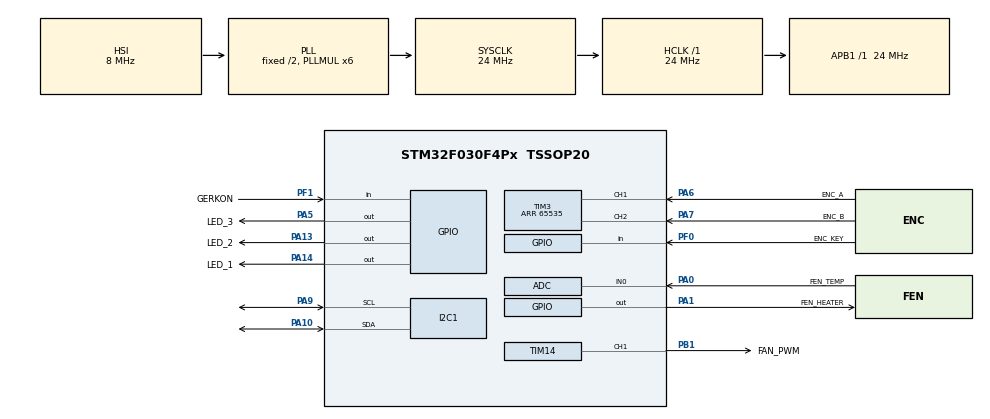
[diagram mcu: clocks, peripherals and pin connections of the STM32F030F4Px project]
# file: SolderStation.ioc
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ADC.ClockPrescaler=ADC_CLOCK_SYNC_PCLK_DIV4
ADC.ContinuousConvMode=ENABLE
ADC.DMAContinuousRequests=DISABLE
ADC.DataAlign=ADC_DATAALIGN_RIGHT
ADC.DiscontinuousConvMode=DISABLE
ADC.EOCSelection=ADC_EOC_SINGLE_CONV
ADC.EnableAnalogWatchDog=false
ADC.ExternalTrigConv=ADC_SOFTWARE_START
ADC.ExternalTrigConvEdge=ADC_EXTERNALTRIGCONVEDGE_NONE
ADC.LowPowerAutoPowerOff=DISABLE
ADC.LowPowerAutoWait=DISABLE
ADC.Overrun=ADC_OVR_DATA_PRESERVED
ADC.Resolution=ADC_RESOLUTION_12B
ADC.SamplingTime=ADC_SAMPLETIME_239CYCLES_5
ADC.ScanConvMode=ADC_SCAN_DIRECTION_FORWARD
Mcu.Family=STM32F0
Mcu.Name=STM32F030F4Px
Mcu.Package=TSSOP20
NVIC.ADC1_IRQn=true\:0\:0\:false\:false\:true
NVIC.TIM3_IRQn=true\:0\:0\:false\:false\:true
PA0.GPIO_Label=FEN_TEMP
PA0.Mode=IN0
PA0.Signal=ADC_IN0
PA1.GPIO_Label=FEN_HEATER
PA1.GPIO_PuPd=GPIO_NOPULL
PA1.Signal=GPIO_Output
PA10.Mode=I2C
PA10.Signal=I2C1_SDA
PA13.GPIO_Label=LED_2
PA13.GPIO_ModeDefaultOutputPP=GPIO_MODE_OUTPUT_PP
PA13.GPIO_PuPd=GPIO_PULLUP
PA13.PinState=GPIO_PIN_SET
PA13.Signal=GPIO_Output
PA14.GPIO_Label=LED_1
PA14.GPIO_ModeDefaultOutputPP=GPIO_MODE_OUTPUT_PP
PA14.GPIO_PuPd=GPIO_PULLUP
PA14.PinState=GPIO_PIN_SET
PA14.Signal=GPIO_Output
PA5.GPIO_Label=LED_3
PA5.GPIO_ModeDefaultOutputPP=GPIO_MODE_OUTPUT_PP
PA5.GPIO_PuPd=GPIO_PULLUP
PA5.PinState=GPIO_PIN_SET
PA5.Signal=GPIO_Output
PA6.GPIO_Label=ENC_A
PA6.GPIO_PuPd=GPIO_PULLUP
PA6.Signal=S_TIM3_CH1
PA7.GPIO_Label=ENC_B
PA7.GPIO_PuPd=GPIO_PULLUP
PA7.Signal=S_TIM3_CH2
PA9.Mode=I2C
PA9.Signal=I2C1_SCL
PB1.GPIO_Label=FAN_PWM
PB1.GPIO_PuPd=GPIO_PULLDOWN
PB1.Signal=S_TIM14_CH1
PF0-OSC_IN.GPIO_Label=ENC_KEY
PF0-OSC_IN.GPIO_PuPd=GPIO_PULLUP
PF0-OSC_IN.Signal=GPIO_Input
PF1-OSC_OUT.GPIO_Label=GERKON
PF1-OSC_OUT.GPIO_PuPd=GPIO_PULLUP
PF1-OSC_OUT.Signal=GPIO_Input
ProjectManager.HeapSize=0x200
ProjectManager.StackSize=0x400
ProjectManager.TargetToolchain=MDK-ARM V5
RCC.AHBFreq_Value=24000000
RCC.APB1Freq_Value=24000000
RCC.APB1TimFreq_Value=24000000
RCC.HCLKFreq_Value=24000000
RCC.PLLMUL=RCC_PLL_MUL6
RCC.SYSCLKFreq_VALUE=24000000
RCC.SYSCLKSource=RCC_SYSCLKSOURCE_PLLCLK
RCC.VDD_VALUE=3.3
SH.S_TIM14_CH1.0=TIM14_CH1,PWM Generation1 CH1
SH.S_TIM3_CH1.0=TIM3_CH1,Encoder_Interface
SH.S_TIM3_CH2.0=TIM3_CH2,Encoder_Interface
TIM3.ClockDivision=TIM_CLOCKDIVISION_DIV2
TIM3.EncoderMode=TIM_ENCODERMODE_TI12
TIM3.IC1Filter=5
TIM3.IC1Prescaler=TIM_ICPSC_DIV1
TIM3.IC2Filter=5
TIM3.IC2Prescaler=TIM_ICPSC_DIV1
TIM3.Period=65535
VP_TIM14_VS_ClockSourceINT.Mode=Enable_Timer
board=SolderStation

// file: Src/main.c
/**
  ******************************************************************************
  * File Name          : main.c
  * Description        : Main program body
  ******************************************************************************
  *
  * COPYRIGHT(c) 2017 STMicroelectronics
  *
  * Redistribution and use in source and binary forms, with or without modification,
  * are permitted provided that the following conditions are met:
  *   1. Redistributions of source code must retain the above copyright notice,
  *      this list of conditions and the following disclaimer.
  *   2. Redistributions in binary form must reproduce the above copyright notice,
  *      this list of conditions and the following disclaimer in the documentation
  *      and/or other materials provided with the distribution.
  *   3. Neither the name of STMicroelectronics nor the names of its contributors
  *      may be used to endorse or promote products derived from this software
  *      without specific prior written permission.
  *
  * THIS SOFTWARE IS PROVIDED BY THE COPYRIGHT HOLDERS AND CONTRIBUTORS "AS IS"
  * AND ANY EXPRESS OR IMPLIED WARRANTIES, INCLUDING, BUT NOT LIMITED TO, THE
  * IMPLIED WARRANTIES OF MERCHANTABILITY AND FITNESS FOR A PARTICULAR PURPOSE ARE
  * DISCLAIMED. IN NO EVENT SHALL THE COPYRIGHT HOLDER OR CONTRIBUTORS BE LIABLE
  * FOR ANY DIRECT, INDIRECT, INCIDENTAL, SPECIAL, EXEMPLARY, OR CONSEQUENTIAL
  * DAMAGES (INCLUDING, BUT NOT LIMITED TO, PROCUREMENT OF SUBSTITUTE GOODS OR
  * SERVICES; LOSS OF USE, DATA, OR PROFITS; OR BUSINESS INTERRUPTION) HOWEVER
  * CAUSED AND ON ANY THEORY OF LIABILITY, WHETHER IN CONTRACT, STRICT LIABILITY,
  * OR TORT (INCLUDING NEGLIGENCE OR OTHERWISE) ARISING IN ANY WAY OUT OF THE USE
  * OF THIS SOFTWARE, EVEN IF ADVISED OF THE POSSIBILITY OF SUCH DAMAGE.
  *
  ******************************************************************************
  */
#include "main.h"
#include "stm32f0xx_hal.h"

ADC_HandleTypeDef hadc;

I2C_HandleTypeDef hi2c1;

TIM_HandleTypeDef htim3;
TIM_HandleTypeDef htim14;

/* USER CODE BEGIN PV */
/* Private variables ---------------------------------------------------------*/
typedef struct {
  GPIO_TypeDef* port;
  uint16_t pin;
} LED_DESC;

// fen_temp = (adc + add1)*mul/div + add2
struct {
  uint8_t magic;      //0x1B
  uint8_t magic2;     //0xEE
  uint16_t target_fan_speed;
  uint16_t target_fen_temp;
  int16_t k_add1;
  int16_t k_mul;
  int16_t k_div;
  int16_t k_add2;
  int16_t step_temp;
  int16_t min_fen;
  int16_t cooler_speed;
} eep_data;

typedef enum
{
  STATE_TEMP,
  STATE_TARGET_TEMP,
  STATE_FAN,
  STATE_SETTINGS
}DisplayStates;

typedef enum
{
  KS_RELEASED,
  KS_PRESSED,
  KS_UNDEFINED,
}Key_States;

typedef struct
{
  GPIO_TypeDef* port;
  uint16_t pin;
  GPIO_PinState push_state;
  void (*key_pressed)( );
  void (*key_longpress)( );
}KeyDefs;

typedef struct
{
  Key_States enk_key_prev_state;
  uint8_t press_counter;
  uint8_t release_counter;
}KeyDefStates;

typedef struct {
  int16_t *val;
  int16_t min;
  int16_t max;
  uint8_t not_null;
} MenuItemDesc;

#define MAX_FEN_SPEED (100)

#define MAX_HEATER_TEMP  (999)

#define EEP_MAGIC1 (0x1B)
#define EEP_MAGIC2 (0xDD)

#define I2C_PCF_DEVICE_ADDRESS(a0,a1,a2)      (0<<7 | 1<<6 | 0<<5 | 0<<4 | a2<<3 | a1<<2 | a0<<1 | 0)   /* A0 = A1 = A2 = 0 */
#define I2C_EE_DEVICE_ADDRESS(a0,a1,a2)      (1<<7 | 0<<6 | 1<<5 | 0<<4 | a2<<3 | a1<<2 | a0<<1 | 0)   /* A0 = A1 = A2 = 0 */
#define DEVICE_MB_ADDR  0

#define TIMERCLOCK(a) (SystemCoreClock/(1000000/a)-1)           /* время такта в микросекундах */
#define TIMERFREQ(a) (SystemCoreClock/a-1)                      /* частота в герцах */

#define NELEMS(a)  (sizeof(a) / sizeof((a)[0]))

#define TIME_RETURN_TEMP   (1000/200)    // 1 сек
#define TIME_RETURN_TEMP_FROM_MENU   (5000/200)    // 5 сек
#define TIME_SAVE_EEPROM        (5000/200)    // 5 сек
#define TIME_COOLING_HEATER       (5000/200)    // 5 сек
/* USER CODE END PV */

void SystemClock_Config(void);
void Error_Handler(void);
static void MX_GPIO_Init(void);
static void MX_TIM3_Init(void);
static void MX_ADC_Init(void);
static void MX_TIM14_Init(void);
static void MX_I2C1_Init(void);

void HAL_TIM_MspPostInit(TIM_HandleTypeDef *htim);

/* USER CODE BEGIN PFP */
/* Private function prototypes -----------------------------------------------*/

/* USER CODE END PFP */

/* USER CODE BEGIN 0 */

uint8_t count_updateeep = 0;          // TIME_SAVE_EEPROM,
uint8_t count_return_temp = 0;        // TIME_RETURN_TEMP_FROM_MENU и TIME_RETURN_TEMP
uint8_t count_cooling = 0;

uint8_t req_200ms = 0;
uint8_t req_5ms = 0;

uint8_t heater_enabled = 0;
uint8_t heater_on = 0;
uint32_t avg_fen_temp = 0;

uint8_t cur_menu = 0;
uint8_t is_in_menu = 0;

DisplayStates disp_state = STATE_TEMP;

const MenuItemDesc menu_descs[] = {
  {&eep_data.k_add1,    -99, 99,  0},
  {&eep_data.k_mul,     -99, 99,  0},
  {&eep_data.k_div,     -99, 99,  1},
  {&eep_data.k_add2,    -99, 99,  0},
  {&eep_data.step_temp,   1, 50,  1},
  {&eep_data.min_fen,     1, 100, 1},
  {&eep_data.cooler_speed,1, 100, 1}
};

#define  MAX_MENU_ITEM  NELEMS(menu_descs)

uint8_t cur_digit = 0;
uint8_t digits[3] = {8,8,8};

#ifdef UDEBUG
size_t __write(int Handle, const unsigned char *Buf, size_t Bufsize)
{
   HAL_UART_Transmit(&huart1, (uint8_t *)Buf, Bufsize, 10);
   return Bufsize;
}
#else
#define printf(...)
#endif

#define SEG_E 0
#define SEG_B 1
#define SEG_F 2
#define SEG_A 3
#define SEG_D 4
#define SEG_DP 5
#define SEG_C 6
#define SEG_G 7

#define PCF_BIT(a0,a1,a2,a3,a4,a5,a6,a7)      (a0<<SEG_A | a1<<SEG_B | a2<<SEG_C | a3<<SEG_D | a4<<SEG_E | a5<<SEG_F | a6<<SEG_G | a7<<SEG_DP)

const uint8_t numberSegments[] = {
  PCF_BIT(0,0,0,0,0,0,1,1),   //0
  PCF_BIT(1,0,0,1,1,1,1,1),   //1
  PCF_BIT(0,0,1,0,0,1,0,1),   //2
  PCF_BIT(0,0,0,0,1,1,0,1),   //3
  PCF_BIT(1,0,0,1,1,0,0,1),   //4
  PCF_BIT(0,1,0,0,1,0,0,1),   //5
  PCF_BIT(0,1,0,0,0,0,0,1),   //6
  PCF_BIT(0,0,0,1,1,1,1,1),   //7
  PCF_BIT(0,0,0,0,0,0,0,1),   //8
  PCF_BIT(0,0,0,0,1,0,0,1),   //9

  PCF_BIT(0,0,0,0,0,0,1,0),   //10 0.
  PCF_BIT(1,0,0,1,1,1,1,0),   //11 1.
  PCF_BIT(0,0,1,0,0,1,0,0),   //12 2.
  PCF_BIT(0,0,0,0,1,1,0,0),   //13 3.
  PCF_BIT(1,0,0,1,1,0,0,0),   //14 4.
  PCF_BIT(0,1,0,0,1,0,0,0),   //15 5.
  PCF_BIT(0,1,0,0,0,0,0,0),   //16 6.
  PCF_BIT(0,0,0,1,1,1,1,0),   //17 7.
  PCF_BIT(0,0,0,0,0,0,0,0),   //18 8.
  PCF_BIT(0,0,0,0,1,0,0,0),   //19 9.

  PCF_BIT(0,1,1,0,0,0,0,1),   //20 E
  PCF_BIT(1,1,1,1,0,1,0,1),   //21 r
  PCF_BIT(0,0,1,1,0,0,0,1),   //22 P
  PCF_BIT(1,1,1,1,1,1,0,1),   //23 -
  PCF_BIT(1,1,1,1,1,1,1,1),   //24
};

void Print3Digits(int a, int with_dot){
  digits[2] = with_dot & 1? (a%10 + 10) : (a%10);
  a/=10;
  digits[1] = with_dot & 2? (a%10 + 10) : (a%10);
  a/=10;
  digits[0] = with_dot & 4? (a%10 + 10) : (a%10);
}

void PrintErr(){
  digits[0] = 20;   //E
  digits[1] = 21;   //r
  digits[2] = 21;   //r
}

void PrintMenuName(int num){
  digits[2] = num%10;
  num/=10;
  digits[1] = num%10;
  digits[0] = 22;   //P
}

void PrintMenuItem(int num){
  int neg = 0;
  int val = *menu_descs[num].val;
  if (val < 0) {
    neg = 1;
    val = -val;
  }
  if (val>=100){
    digits[2] = neg ? (val%10 + 10) : (val%10);
    val/=10;
    digits[1] = val%10;
    val/=10;
    digits[0] = val%10;
  } else {
    digits[2] = val%10;
    val/=10;
    digits[1] = val%10;
    digits[0] = neg ? 23 : 24;   //-
  }
}

const LED_DESC led_desc[] = {
  {LED_1_GPIO_Port, LED_1_Pin},
  {LED_2_GPIO_Port, LED_2_Pin},
  {LED_3_GPIO_Port, LED_3_Pin},
};

int enc_steps  = 0;
void HAL_TIM_IC_CaptureCallback(TIM_HandleTypeDef *htim){
  if (htim->Instance == TIM3){   // Пришло событие от энкодера
    int counter = __HAL_TIM_GET_COUNTER(htim);
    printf("Counter: %02x\r\n", counter);
    if (counter  != 0x80){
      int neg = 1;
      int steps = counter - 0x80;
      if (steps < 0) {
        neg = -1;
        steps=-steps;
      }
      steps>>=1;
      enc_steps += steps*neg;
      printf("steps: %d\r\n", steps);
      printf("enc_steps: %d\r\n", enc_steps);
      __HAL_TIM_SET_COUNTER(htim,0x80);
    }
    printf("\r\n");
  }
}

int private_adc_counter = 0;
uint32_t private_fen_temp=0;         // из ADC
void HAL_ADC_ConvCpltCallback(ADC_HandleTypeDef* hadc){
  uint32_t adc_val = HAL_ADC_GetValue(hadc);
  if (adc_val<260){
    private_fen_temp += adc_val>>2;
  } else {
    private_fen_temp += ((adc_val + eep_data.k_add1) * eep_data.k_mul / eep_data.k_div + eep_data.k_add2);
  }
  private_adc_counter++;
}

void  GetAvgFenTemp(uint32_t *res){
  __disable_irq();
  if (private_adc_counter){
    *res = private_fen_temp/private_adc_counter;
    private_fen_temp = private_adc_counter = 0;
  }
  __enable_irq();
}

void HAL_SYSTICK_Callback(void){
  static int msec200 = 200;
  static int msec5 = 5;
  if (--msec200 <= 0){  // каждые 200мс
    req_200ms = 1;
    msec200=200;
  }
  if (--msec5 <= 0){  // каждые 5мс
    req_5ms = 1;
    msec5=5;
  }
}

void RefreshScreen(void)
{
  switch(disp_state){
  case STATE_TEMP:
    if (avg_fen_temp > MAX_HEATER_TEMP){
      PrintErr();
    } else {
      Print3Digits(avg_fen_temp, heater_on?1:0);
    }
    break;
  case STATE_TARGET_TEMP:
    Print3Digits(eep_data.target_fen_temp, 2);
    break;
  case STATE_FAN:
    Print3Digits(eep_data.target_fan_speed, 1|2|4);
    break;
  case STATE_SETTINGS:
    if (is_in_menu){
      PrintMenuItem(cur_menu);
    } else {
      PrintMenuName(cur_menu);
    }
    break;
  }
}

void SetFenFan(int percent){
  __HAL_TIM_SET_COMPARE(&htim14, TIM_CHANNEL_1, percent);
}

void EncRight(int steps){
  switch(disp_state){
  case STATE_TEMP:
  case STATE_TARGET_TEMP:
    disp_state = STATE_TARGET_TEMP;
    count_return_temp = TIME_RETURN_TEMP;
    if (eep_data.target_fen_temp + steps*eep_data.step_temp <= MAX_HEATER_TEMP){
      eep_data.target_fen_temp += (steps*eep_data.step_temp);
    } else {
      eep_data.target_fen_temp = MAX_HEATER_TEMP;
    }
    count_updateeep = TIME_SAVE_EEPROM;
    break;
  case STATE_FAN:
    if ((eep_data.target_fan_speed + steps) <=MAX_FEN_SPEED){
      eep_data.target_fan_speed+=steps;
      SetFenFan(eep_data.target_fan_speed);
      count_updateeep = TIME_SAVE_EEPROM;
    }
    break;
  case STATE_SETTINGS:
    count_return_temp = TIME_RETURN_TEMP_FROM_MENU;
    if (is_in_menu){
      int16_t val = *menu_descs[cur_menu].val;
      if (val+1 <= menu_descs[cur_menu].max){
        if (val+1 == 0 && menu_descs[cur_menu].not_null){
          if (val+2 <= menu_descs[cur_menu].max) *menu_descs[cur_menu].val+=2;
        } else {
          *menu_descs[cur_menu].val+=1;
        }
      }
      count_updateeep = TIME_SAVE_EEPROM;
    } else {
      cur_menu = (cur_menu + 1 > (MAX_MENU_ITEM-1))? 0 : (cur_menu + 1);
    }
    break;
  }
  RefreshScreen();
}

void EncLeft(int steps){
  switch(disp_state){
  case STATE_TEMP:
  case STATE_TARGET_TEMP:
    disp_state = STATE_TARGET_TEMP;
    count_return_temp = TIME_RETURN_TEMP;
    if (eep_data.target_fen_temp-steps*eep_data.step_temp >= 0){
      eep_data.target_fen_temp-=(steps*eep_data.step_temp);
    }
    else {
      eep_data.target_fen_temp = 0;
    }
    count_updateeep = TIME_SAVE_EEPROM;
    break;
  case STATE_FAN:
    if ((eep_data.target_fan_speed - steps) >= eep_data.min_fen){
      eep_data.target_fan_speed-=steps;
      SetFenFan(eep_data.target_fan_speed);
      count_updateeep = TIME_SAVE_EEPROM;
    }
    break;
  case STATE_SETTINGS:
    count_return_temp = TIME_RETURN_TEMP_FROM_MENU;
    if (is_in_menu){
      int16_t val = *menu_descs[cur_menu].val;
      if (val-1 >= menu_descs[cur_menu].min){
        if (val-1 == 0 && menu_descs[cur_menu].not_null){
          if (val-2 >= menu_descs[cur_menu].min) *menu_descs[cur_menu].val-=2;
        } else {
          *menu_descs[cur_menu].val-=1;
        }
      }
      count_updateeep = TIME_SAVE_EEPROM;
    } else {
      cur_menu = (cur_menu - 1 < 0)?(MAX_MENU_ITEM-1) : (cur_menu -1);
    }
    break;
  }
  RefreshScreen();
}

void EncKeyPressed(){
  switch(disp_state){
  case STATE_TEMP:
    disp_state = STATE_FAN;
    break;

  case STATE_FAN:
    disp_state = STATE_TEMP;
    break;
  case STATE_SETTINGS:
    count_return_temp = TIME_RETURN_TEMP_FROM_MENU;
    if (is_in_menu){
      is_in_menu = 0;
    } else {
      is_in_menu = 1;
    }
    break;
  default:
    break;
  }
  RefreshScreen();
}

void EncKeyLongPress(){
  switch(disp_state){
  case STATE_TEMP:
    disp_state = STATE_SETTINGS;
    count_return_temp = TIME_RETURN_TEMP_FROM_MENU;
    break;
  case STATE_SETTINGS:
    count_return_temp = 0;
    disp_state = STATE_TEMP;
    break;
  default:
    break;
  }
  RefreshScreen();
}

const KeyDefs key_defs[] = {
  {ENC_KEY_GPIO_Port, ENC_KEY_Pin, GPIO_PIN_RESET, EncKeyPressed, EncKeyLongPress },
};

KeyDefStates key_defstates[] = {
  {KS_UNDEFINED, 0, 0 },
};

void KeyHandler(void){
  for (int i=0; i< NELEMS(key_defs) ; i++){
    int state = HAL_GPIO_ReadPin(key_defs[i].port,  key_defs[i].pin);
    if (state == key_defs[i].push_state)      // нажата
    {
      if (key_defstates[i].press_counter < 0xFF)
        key_defstates[i].press_counter++;
      if (key_defstates[i].press_counter > (70/5)){             // 70 мс на дребезг
        key_defstates[i].enk_key_prev_state = KS_PRESSED;
      }
      key_defstates[i].release_counter = 0;
    }
    else {
      if (key_defstates[i].enk_key_prev_state == KS_PRESSED){
        key_defstates[i].release_counter++;
        if (key_defstates[i].release_counter > (70/5)){         // 70 мс на дребезг
          if (key_defstates[i].press_counter <= (250/5)){       // Если <250мс то короткое нажатие
            if (key_defs[i].key_pressed) key_defs[i].key_pressed();
          } else {
            if (key_defs[i].key_longpress) key_defs[i].key_longpress();
          }
          key_defstates[i].press_counter = 0;
          key_defstates[i].enk_key_prev_state = KS_RELEASED;
        }
      }
    }
  }
}

void CheckEnc(void){
  if (enc_steps != 0){
    if (enc_steps > 0) {
      EncLeft(enc_steps);
    } else {
      EncRight(enc_steps*(-1));
    }
    enc_steps = 0;
  }
}

void CheckHeater(){
  if (heater_enabled && eep_data.target_fen_temp <= MAX_HEATER_TEMP){
    if (avg_fen_temp < eep_data.target_fen_temp){
      heater_on = 1;
      HAL_GPIO_WritePin(FEN_HEATER_GPIO_Port, FEN_HEATER_Pin, GPIO_PIN_SET);
    } else {
      heater_on = 0;
      HAL_GPIO_WritePin(FEN_HEATER_GPIO_Port, FEN_HEATER_Pin, GPIO_PIN_RESET);
    }
  } else {
    heater_on = 0;
    HAL_GPIO_WritePin(FEN_HEATER_GPIO_Port, FEN_HEATER_Pin, GPIO_PIN_RESET);
  }
}

void CheckGerkon(){
  int state = HAL_GPIO_ReadPin(GERKON_GPIO_Port,  GERKON_Pin);
  if (state == GPIO_PIN_RESET){      // Поставили фен на подставку
    if (heater_enabled){
      count_cooling = TIME_COOLING_HEATER;
      SetFenFan(eep_data.cooler_speed);
    }
    heater_enabled = 0;
  } else {                           // Сняли фен
    if (!heater_enabled){
      count_cooling = 0;
      SetFenFan(eep_data.target_fan_speed);
    }
    heater_enabled = 1;
  }

}

void ReadEEPROM(){
  if (HAL_I2C_Mem_Read(&hi2c1, I2C_EE_DEVICE_ADDRESS(0,0,0), DEVICE_MB_ADDR, I2C_MEMADD_SIZE_8BIT, &eep_data.magic, sizeof(eep_data), 5) != HAL_OK ||
      eep_data.magic != EEP_MAGIC1 || eep_data.magic2 != EEP_MAGIC2)
  {
    eep_data.magic = EEP_MAGIC1;
    eep_data.magic2 = EEP_MAGIC2;
    eep_data.target_fan_speed = 85;
    eep_data.target_fen_temp = 100;
    eep_data.k_add1 = 0;
    eep_data.k_mul = 1;
    eep_data.k_div = 4;
    eep_data.k_add2 = 0;
    eep_data.step_temp = 5;
    eep_data.min_fen = 70;
    eep_data.cooler_speed = 90;
    count_updateeep = 1;
  }
}

int CheckCounter8b(uint8_t* val){
  if (*val > 0){
    *val = *val - 1;
    if (*val==0) return 1;
  }
  return 0;
}

HAL_StatusTypeDef HAL_I2C_Mem_Write_Long(I2C_HandleTypeDef *hi2c, uint16_t DevAddress, uint16_t MemAddress, uint16_t MemAddSize, uint8_t *pData, uint16_t Size, uint32_t Timeout){
  HAL_StatusTypeDef result;
  do {
    int dsize = Size>8?8:Size;
    result = HAL_I2C_Mem_Write(hi2c, DevAddress, MemAddress, MemAddSize, pData, dsize, Timeout);
    if (result != HAL_OK) break;
    HAL_Delay(5);
    Size -= dsize;
    MemAddress += dsize;
    pData += dsize;
  } while (Size != 0);
  return result;
}
/* USER CODE END 0 */

int main(void)
{

  /* MCU Configuration----------------------------------------------------------*/

  /* Reset of all peripherals, Initializes the Flash interface and the Systick. */
  HAL_Init();

  /* Configure the system clock */
  SystemClock_Config();

  /* Initialize all configured peripherals */
  MX_GPIO_Init();
  MX_TIM3_Init();
  MX_ADC_Init();
  MX_TIM14_Init();
  MX_I2C1_Init();

  /* USER CODE BEGIN 2 */
  ReadEEPROM();
  HAL_ADC_Start_IT(&hadc);

  __HAL_TIM_SET_PRESCALER(&htim14, TIMERFREQ(4800000));           // частота таймера 4800Кгц
  __HAL_TIM_SET_AUTORELOAD(&htim14, MAX_FEN_SPEED - 1);           // Частота Ш�?М 4800/100 = 48кГц
  SetFenFan(eep_data.target_fan_speed);
  HAL_TIM_PWM_Start(&htim14, TIM_CHANNEL_1);

  __HAL_TIM_SET_COUNTER(&htim3,0x80);
  __HAL_TIM_SET_AUTORELOAD(&htim3, 0xFFFF);
  __HAL_TIM_SET_COMPARE(&htim3, TIM_CHANNEL_1, 0x80 - 4);
  __HAL_TIM_SET_COMPARE(&htim3, TIM_CHANNEL_2, 0x80 + 4);
  HAL_TIM_Encoder_Start_IT(&htim3,TIM_CHANNEL_ALL);

  /* USER CODE END 2 */

  /* Infinite loop */
  /* USER CODE BEGIN WHILE */
  int req_update7seg=0;
  while (1)
  {
    if (req_5ms){                                             // Каждые 5мс
      req_5ms = 0;
      GetAvgFenTemp(&avg_fen_temp);
      CheckGerkon();
      KeyHandler();                                           // Проверяем кнопки
      CheckEnc();                                             // энкодер
      CheckHeater();                                          // Проверяем нагреватель
      req_update7seg = 1;                                     // Обновляем 7ми сегментный индикатор, частота 1000/5 = 200Гц
    }
    if (req_200ms)                                            // Каждые 200мс
    {
      req_200ms = 0;
      if (CheckCounter8b(&count_return_temp)) {               // Проверяем надо ли вернуться в режим отображения температуры
        is_in_menu = 0;
        cur_menu = 0;
        disp_state = STATE_TEMP;
      }
      if (CheckCounter8b(&count_cooling)) {                   // Проверяем надо ли выключить вентилятор
        if (avg_fen_temp < 50)
          SetFenFan(0);
        else
          count_cooling = TIME_COOLING_HEATER;
      }

      RefreshScreen();                                        // Обновляем показания индикатора
      if (CheckCounter8b(&count_updateeep))                   // Если надо перезаписывем еепром
        HAL_I2C_Mem_Write_Long(&hi2c1, I2C_EE_DEVICE_ADDRESS(0,0,0), DEVICE_MB_ADDR, I2C_MEMADD_SIZE_8BIT, &eep_data.magic, sizeof(eep_data), 5);
    }
    if (req_update7seg){
      req_update7seg = 0;
      HAL_GPIO_WritePin(led_desc[cur_digit].port, led_desc[cur_digit].pin, GPIO_PIN_SET);        // гасим текущий разряд
      if (++cur_digit  > 2)  cur_digit = 0;                                                      // проверяем переполнение
      HAL_I2C_Master_Transmit(&hi2c1, I2C_PCF_DEVICE_ADDRESS(0,0,0), (uint8_t *)&numberSegments[digits[cur_digit]], 1, 5);
      HAL_GPIO_WritePin(led_desc[cur_digit].port, led_desc[cur_digit].pin, GPIO_PIN_RESET);      // Включаем текущий
    }
  /* USER CODE END WHILE */

  }

}

/** System Clock Configuration
*/
void SystemClock_Config(void)
{

  RCC_OscInitTypeDef RCC_OscInitStruct;
  RCC_ClkInitTypeDef RCC_ClkInitStruct;
  RCC_PeriphCLKInitTypeDef PeriphClkInit;

    /**Initializes the CPU, AHB and APB busses clocks
    */
  RCC_OscInitStruct.OscillatorType = RCC_OSCILLATORTYPE_HSI;
  RCC_OscInitStruct.HSIState = RCC_HSI_ON;
  RCC_OscInitStruct.HSICalibrationValue = 16;
  RCC_OscInitStruct.PLL.PLLState = RCC_PLL_ON;
  RCC_OscInitStruct.PLL.PLLSource = RCC_PLLSOURCE_HSI;
  RCC_OscInitStruct.PLL.PLLMUL = RCC_PLL_MUL6;
  RCC_OscInitStruct.PLL.PREDIV = RCC_PREDIV_DIV1;
  if (HAL_RCC_OscConfig(&RCC_OscInitStruct) != HAL_OK)
  {
    Error_Handler();
  }

    /**Initializes the CPU, AHB and APB busses clocks
    */
  RCC_ClkInitStruct.ClockType = RCC_CLOCKTYPE_HCLK|RCC_CLOCKTYPE_SYSCLK
                              |RCC_CLOCKTYPE_PCLK1;
  RCC_ClkInitStruct.SYSCLKSource = RCC_SYSCLKSOURCE_PLLCLK;
  RCC_ClkInitStruct.AHBCLKDivider = RCC_SYSCLK_DIV1;
  RCC_ClkInitStruct.APB1CLKDivider = RCC_HCLK_DIV1;

  if (HAL_RCC_ClockConfig(&RCC_ClkInitStruct, FLASH_LATENCY_0) != HAL_OK)
  {
    Error_Handler();
  }

  PeriphClkInit.PeriphClockSelection = RCC_PERIPHCLK_I2C1;
  PeriphClkInit.I2c1ClockSelection = RCC_I2C1CLKSOURCE_HSI;
  if (HAL_RCCEx_PeriphCLKConfig(&PeriphClkInit) != HAL_OK)
  {
    Error_Handler();
  }

    /**Configure the Systick interrupt time
    */
  HAL_SYSTICK_Config(HAL_RCC_GetHCLKFreq()/1000);

    /**Configure the Systick
    */
  HAL_SYSTICK_CLKSourceConfig(SYSTICK_CLKSOURCE_HCLK);

  /* SysTick_IRQn interrupt configuration */
  HAL_NVIC_SetPriority(SysTick_IRQn, 0, 0);
}

/* ADC init function */
static void MX_ADC_Init(void)
{

  ADC_ChannelConfTypeDef sConfig;

    /**Configure the global features of the ADC (Clock, Resolution, Data Alignment and number of conversion)
    */
  hadc.Instance = ADC1;
  hadc.Init.ClockPrescaler = ADC_CLOCK_SYNC_PCLK_DIV4;
  hadc.Init.Resolution = ADC_RESOLUTION_12B;
  hadc.Init.DataAlign = ADC_DATAALIGN_RIGHT;
  hadc.Init.ScanConvMode = ADC_SCAN_DIRECTION_FORWARD;
  hadc.Init.EOCSelection = ADC_EOC_SINGLE_CONV;
  hadc.Init.LowPowerAutoWait = DISABLE;
  hadc.Init.LowPowerAutoPowerOff = DISABLE;
  hadc.Init.ContinuousConvMode = ENABLE;
  hadc.Init.DiscontinuousConvMode = DISABLE;
  hadc.Init.ExternalTrigConv = ADC_SOFTWARE_START;
  hadc.Init.ExternalTrigConvEdge = ADC_EXTERNALTRIGCONVEDGE_NONE;
  hadc.Init.DMAContinuousRequests = DISABLE;
  hadc.Init.Overrun = ADC_OVR_DATA_PRESERVED;
  if (HAL_ADC_Init(&hadc) != HAL_OK)
  {
    Error_Handler();
  }

    /**Configure for the selected ADC regular channel to be converted.
    */
  sConfig.Channel = ADC_CHANNEL_0;
  sConfig.Rank = ADC_RANK_CHANNEL_NUMBER;
  sConfig.SamplingTime = ADC_SAMPLETIME_239CYCLES_5;
  if (HAL_ADC_ConfigChannel(&hadc, &sConfig) != HAL_OK)
  {
    Error_Handler();
  }

}

/* I2C1 init function */
static void MX_I2C1_Init(void)
{

  hi2c1.Instance = I2C1;
  hi2c1.Init.Timing = 0x2000090E;
  hi2c1.Init.OwnAddress1 = 0;
  hi2c1.Init.AddressingMode = I2C_ADDRESSINGMODE_7BIT;
  hi2c1.Init.DualAddressMode = I2C_DUALADDRESS_DISABLE;
  hi2c1.Init.OwnAddress2 = 0;
  hi2c1.Init.OwnAddress2Masks = I2C_OA2_NOMASK;
  hi2c1.Init.GeneralCallMode = I2C_GENERALCALL_DISABLE;
  hi2c1.Init.NoStretchMode = I2C_NOSTRETCH_DISABLE;
  if (HAL_I2C_Init(&hi2c1) != HAL_OK)
  {
    Error_Handler();
  }

    /**Configure Analogue filter
    */
  if (HAL_I2CEx_ConfigAnalogFilter(&hi2c1, I2C_ANALOGFILTER_ENABLE) != HAL_OK)
  {
    Error_Handler();
  }

}

/* TIM3 init function */
static void MX_TIM3_Init(void)
{

  TIM_Encoder_InitTypeDef sConfig;
  TIM_MasterConfigTypeDef sMasterConfig;

  htim3.Instance = TIM3;
  htim3.Init.Prescaler = 0;
  htim3.Init.CounterMode = TIM_COUNTERMODE_UP;
  htim3.Init.Period = 65535;
  htim3.Init.ClockDivision = TIM_CLOCKDIVISION_DIV2;
  htim3.Init.AutoReloadPreload = TIM_AUTORELOAD_PRELOAD_DISABLE;
  sConfig.EncoderMode = TIM_ENCODERMODE_TI12;
  sConfig.IC1Polarity = TIM_ICPOLARITY_RISING;
  sConfig.IC1Selection = TIM_ICSELECTION_DIRECTTI;
  sConfig.IC1Prescaler = TIM_ICPSC_DIV1;
  sConfig.IC1Filter = 5;
  sConfig.IC2Polarity = TIM_ICPOLARITY_RISING;
  sConfig.IC2Selection = TIM_ICSELECTION_DIRECTTI;
  sConfig.IC2Prescaler = TIM_ICPSC_DIV1;
  sConfig.IC2Filter = 5;
  if (HAL_TIM_Encoder_Init(&htim3, &sConfig) != HAL_OK)
  {
    Error_Handler();
  }

  sMasterConfig.MasterOutputTrigger = TIM_TRGO_RESET;
  sMasterConfig.MasterSlaveMode = TIM_MASTERSLAVEMODE_DISABLE;
  if (HAL_TIMEx_MasterConfigSynchronization(&htim3, &sMasterConfig) != HAL_OK)
  {
    Error_Handler();
  }

}

/* TIM14 init function */
static void MX_TIM14_Init(void)
{

  TIM_OC_InitTypeDef sConfigOC;

  htim14.Instance = TIM14;
  htim14.Init.Prescaler = 0;
  htim14.Init.CounterMode = TIM_COUNTERMODE_UP;
  htim14.Init.Period = 0;
  htim14.Init.ClockDivision = TIM_CLOCKDIVISION_DIV1;
  htim14.Init.AutoReloadPreload = TIM_AUTORELOAD_PRELOAD_DISABLE;
  if (HAL_TIM_Base_Init(&htim14) != HAL_OK)
  {
    Error_Handler();
  }

  if (HAL_TIM_PWM_Init(&htim14) != HAL_OK)
  {
    Error_Handler();
  }

  sConfigOC.OCMode = TIM_OCMODE_PWM1;
  sConfigOC.Pulse = 0;
  sConfigOC.OCPolarity = TIM_OCPOLARITY_HIGH;
  sConfigOC.OCFastMode = TIM_OCFAST_DISABLE;
  if (HAL_TIM_PWM_ConfigChannel(&htim14, &sConfigOC, TIM_CHANNEL_1) != HAL_OK)
  {
    Error_Handler();
  }

  HAL_TIM_MspPostInit(&htim14);

}

/** Configure pins as
        * Analog
        * Input
        * Output
        * EVENT_OUT
        * EXTI
*/
static void MX_GPIO_Init(void)
{

  GPIO_InitTypeDef GPIO_InitStruct;

  /* GPIO Ports Clock Enable */
  __HAL_RCC_GPIOF_CLK_ENABLE();
  __HAL_RCC_GPIOA_CLK_ENABLE();
  __HAL_RCC_GPIOB_CLK_ENABLE();

  /*Configure GPIO pins : ENC_KEY_Pin GERKON_Pin */
  GPIO_InitStruct.Pin = ENC_KEY_Pin|GERKON_Pin;
  GPIO_InitStruct.Mode = GPIO_MODE_INPUT;
  GPIO_InitStruct.Pull = GPIO_PULLUP;
  HAL_GPIO_Init(GPIOF, &GPIO_InitStruct);

  /*Configure GPIO pin : FEN_HEATER_Pin */
  GPIO_InitStruct.Pin = FEN_HEATER_Pin;
  GPIO_InitStruct.Mode = GPIO_MODE_OUTPUT_PP;
  GPIO_InitStruct.Pull = GPIO_NOPULL;
  GPIO_InitStruct.Speed = GPIO_SPEED_FREQ_LOW;
  HAL_GPIO_Init(FEN_HEATER_GPIO_Port, &GPIO_InitStruct);

  /*Configure GPIO pins : LED_3_Pin LED_2_Pin LED_1_Pin */
  GPIO_InitStruct.Pin = LED_3_Pin|LED_2_Pin|LED_1_Pin;
  GPIO_InitStruct.Mode = GPIO_MODE_OUTPUT_PP;
  GPIO_InitStruct.Pull = GPIO_PULLUP;
  GPIO_InitStruct.Speed = GPIO_SPEED_FREQ_LOW;
  HAL_GPIO_Init(GPIOA, &GPIO_InitStruct);

  /*Configure GPIO pin Output Level */
  HAL_GPIO_WritePin(FEN_HEATER_GPIO_Port, FEN_HEATER_Pin, GPIO_PIN_RESET);

  /*Configure GPIO pin Output Level */
  HAL_GPIO_WritePin(GPIOA, LED_3_Pin|LED_2_Pin|LED_1_Pin, GPIO_PIN_SET);

}

void Error_Handler(void)
{
  while(1)
  {
  }
}

/************************ (C) COPYRIGHT STMicroelectronics *****END OF FILE****/
